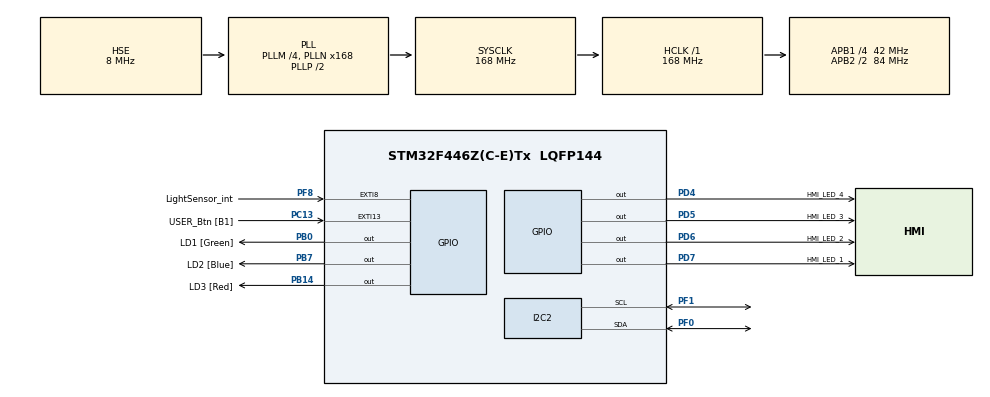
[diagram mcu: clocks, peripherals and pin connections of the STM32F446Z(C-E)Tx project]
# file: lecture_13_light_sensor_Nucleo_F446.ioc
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Mcu.Family=STM32F4
Mcu.Name=STM32F446Z(C-E)Tx
Mcu.Package=LQFP144
NVIC.EXTI15_10_IRQn=true\:0\:0\:false\:false\:true\:true\:true\:true
NVIC.EXTI9_5_IRQn=true\:0\:0\:false\:false\:true\:true\:true\:true
NVIC.PriorityGroup=NVIC_PRIORITYGROUP_4
PA13.Mode=Serial_Wire
PA13.Signal=SYS_JTMS-SWDIO
PA14.Mode=Serial_Wire
PA14.Signal=SYS_JTCK-SWCLK
PB0.GPIO_Label=LD1 [Green]
PB0.Signal=GPIO_Output
PB14.GPIO_Label=LD3 [Red]
PB14.Signal=GPIO_Output
PB7.GPIO_Label=LD2 [Blue]
PB7.Signal=GPIO_Output
PC13.GPIO_Label=USER_Btn [B1]
PC13.Signal=GPXTI13
PC14-OSC32_IN.Mode=LSE-External-Oscillator
PC14-OSC32_IN.Signal=RCC_OSC32_IN
PC15-OSC32_OUT.Mode=LSE-External-Oscillator
PC15-OSC32_OUT.Signal=RCC_OSC32_OUT
PD4.GPIO_Label=HMI_LED_4
PD4.GPIO_ModeDefaultOutputPP=GPIO_MODE_OUTPUT_PP
PD4.GPIO_PuPd=GPIO_NOPULL
PD4.GPIO_Speed=GPIO_SPEED_FREQ_LOW
PD4.PinState=GPIO_PIN_RESET
PD4.Signal=GPIO_Output
PD5.GPIO_Label=HMI_LED_3
PD5.GPIO_ModeDefaultOutputPP=GPIO_MODE_OUTPUT_PP
PD5.GPIO_PuPd=GPIO_NOPULL
PD5.GPIO_Speed=GPIO_SPEED_FREQ_LOW
PD5.PinState=GPIO_PIN_RESET
PD5.Signal=GPIO_Output
PD6.GPIO_Label=HMI_LED_2
PD6.GPIO_ModeDefaultOutputPP=GPIO_MODE_OUTPUT_PP
PD6.GPIO_PuPd=GPIO_NOPULL
PD6.GPIO_Speed=GPIO_SPEED_FREQ_LOW
PD6.PinState=GPIO_PIN_RESET
PD6.Signal=GPIO_Output
PD7.GPIO_Label=HMI_LED_1
PD7.GPIO_ModeDefaultOutputPP=GPIO_MODE_OUTPUT_PP
PD7.GPIO_PuPd=GPIO_NOPULL
PD7.GPIO_Speed=GPIO_SPEED_FREQ_LOW
PD7.PinState=GPIO_PIN_RESET
PD7.Signal=GPIO_Output
PF0.Mode=I2C
PF0.Signal=I2C2_SDA
PF1.Mode=I2C
PF1.Signal=I2C2_SCL
PF8.GPIO_Label=LightSensor_int
PF8.GPIO_ModeDefaultEXTI=GPIO_MODE_IT_RISING_FALLING
PF8.GPIO_PuPd=GPIO_NOPULL
PF8.Signal=GPXTI8
PH0-OSC_IN.Mode=HSE-External-Clock-Source
PH0-OSC_IN.Signal=RCC_OSC_IN
PH1-OSC_OUT.Mode=HSE-External-Clock-Source
PH1-OSC_OUT.Signal=RCC_OSC_OUT
ProjectManager.HeapSize=0x200
ProjectManager.StackSize=0x400
ProjectManager.TargetToolchain=STM32CubeIDE
RCC.48MHZClocksFreq_Value=24000000
RCC.AHBFreq_Value=168000000
RCC.APB1CLKDivider=RCC_HCLK_DIV4
RCC.APB1Freq_Value=42000000
RCC.APB1TimFreq_Value=84000000
RCC.APB2CLKDivider=RCC_HCLK_DIV2
RCC.APB2Freq_Value=84000000
RCC.APB2TimFreq_Value=168000000
RCC.CortexFreq_Value=168000000
RCC.HCLKFreq_Value=168000000
RCC.HSE_VALUE=8000000
RCC.HSI_VALUE=16000000
RCC.PLLM=4
RCC.PLLMUL=RCC_PLL_MUL9
RCC.PLLN=168
RCC.PLLQ=7
RCC.PLLSourceVirtual=RCC_PLLSOURCE_HSE
RCC.PRESCALERUSB=RCC_USBCLKSOURCE_PLL_DIV1_5
RCC.SYSCLKFreq_VALUE=168000000
RCC.SYSCLKSource=RCC_SYSCLKSOURCE_PLLCLK
RCC.SYSCLKSourceVirtual=RCC_SYSCLKSOURCE_PLLCLK
RCC.USBFreq_Value=48000000
RCC.VCOOutputFreq_Value=336000000
board=NUCLEO-F446ZE

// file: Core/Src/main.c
/* USER CODE BEGIN Header */
/**
  ******************************************************************************
  * @file           : main.c
  * @brief          : Main program body
  ******************************************************************************
  * @attention
  *
  * Copyright (c) 2024 STMicroelectronics.
  * All rights reserved.
  *
  * This software is licensed under terms that can be found in the LICENSE file
  * in the root directory of this software component.
  * If no LICENSE file comes with this software, it is provided AS-IS.
  *
  ******************************************************************************
  */
/* USER CODE END Header */
#include "main.h"
#include "i2c.h"
#include "gpio.h"

/* USER CODE BEGIN Includes */

#include "OLED.h"
#include "light_sensor.h"
#include <stdio.h>

/* USER CODE END Includes */

void SystemClock_Config(void);

/* USER CODE BEGIN 0 */
// Variable for counting the interrupts
uint16_t interrupt_counter = 0;

// Külső interrupt lekezelő függvény
void HAL_GPIO_EXTI_Callback(uint16_t GPIO_Pin)
{
	interrupt_counter++;			// Counter incrementation
	LightSensor_ClearInterrupt();	// Clear the new interrupts
}

/* USER CODE END 0 */

int main(void)
{

  /* MCU Configuration--------------------------------------------------------*/

  /* Reset of all peripherals, Initializes the Flash interface and the Systick. */
  HAL_Init();

  /* Configure the system clock */
  SystemClock_Config();

  /* Initialize all configured peripherals */
  MX_GPIO_Init();
  MX_I2C2_Init();
  /* USER CODE BEGIN 2 */

  // Initialize OLED display for showing temperature reading
  OLED_Init();

  // Storing measured light level
  float lightLevel;
  uint16_t channel_0;
  uint16_t channel_1;

  // Character array for displaying the measured light level
  char lightLevel_char[18];
  uint16_t lightlevel_integer;
  uint16_t lightlevel_fractional;
  // Character array for displaying the interrupt counter
  char interrupt_char[18];
  char channels_char[18];
  // Variable for checking the status of the communication
  HAL_StatusTypeDef sensor_i2c = HAL_OK;

  // Set the I2C slave address of the light sensor
  //LightSensor_SetAddress(LightSensor_ADDR_VDD);
  LightSensor_SetAddress(LightSensor_ADDR_FLOAT);
  //LightSensor_SetAddress(LightSensor_ADDR_GND);

  // Initialize the light sensor
  sensor_i2c |= LightSensor_SetPowerState(LightSensor_POWER_ON);
  sensor_i2c |= LightSensor_SetGain(LightSensor_GAIN_16X);
  sensor_i2c |= LightSensor_SetIntegrationTime(LightSensor_INTEG_101m);

  // Enable level interrupt
  sensor_i2c |= LightSensor_SetInterruptState(LightSensor_INT_ON);
  /*
   * Set the interrupt to happen after the light
   * level is outside the threshold window for
   * 3 integration time periods.
   */
  sensor_i2c |= LightSensor_SetInterruptPersist(LightSensor_PERSIST_3CYCLE);
  // Set limits
  uint16_t lower_itr_level = 500;
  uint16_t upper_itr_level = 5000;
  sensor_i2c |= LightSensor_SetThreshold(lower_itr_level, upper_itr_level);

  /* USER CODE END 2 */

  /* Infinite loop */
  /* USER CODE BEGIN WHILE */
  while (1)
  {
	  // Read sensor
	  sensor_i2c |= LightSensor_GetLightLevel(&lightLevel);
	  sensor_i2c |= LightSensor_GetCH0Value(&channel_0);
	  sensor_i2c |= LightSensor_GetCH1Value(&channel_1);

	  // String conversion
	  lightlevel_integer = (uint16_t)lightLevel;
	  lightlevel_fractional = (uint16_t)(lightLevel * 100) - 100 * (uint16_t)lightLevel;
	  sprintf(lightLevel_char, "%d.%d lux", lightlevel_integer, lightlevel_fractional);
	  sprintf(channels_char, "%d, %d", channel_0, channel_1);
	  sprintf(interrupt_char, "%d", interrupt_counter);

	  // Display of measured data
	  OLED_Fill(Black);

	  OLED_SetCursor(2, 0);
	  OLED_WriteString("Illuminance:", Font_7x10, White);
	  OLED_SetCursor(2, 10);
	  OLED_WriteString(lightLevel_char, Font_7x10, White);

	  OLED_SetCursor(2, 10+10);
	  OLED_WriteString("Channel 0, 1:", Font_7x10, White);
	  OLED_SetCursor(2, 10+10+10);
	  OLED_WriteString(channels_char, Font_7x10, White);

	  OLED_SetCursor(2, 10+10+10+10);
	  OLED_WriteString("Interrupts:", Font_7x10, White);
	  OLED_SetCursor(2, 10+10+10+10+10);
	  OLED_WriteString(interrupt_char, Font_7x10, White);

	  OLED_UpdateScreen();

	  sensor_i2c |= LightSensor_ClearInterrupt();

	  // In case of write error turn on all LEDs
	  if (sensor_i2c == HAL_ERROR)
	  {
		  HAL_GPIO_WritePin(HMI_LED_1_GPIO_Port, HMI_LED_1_Pin, GPIO_PIN_SET);
		  HAL_GPIO_WritePin(HMI_LED_2_GPIO_Port, HMI_LED_2_Pin, GPIO_PIN_SET);
		  HAL_GPIO_WritePin(HMI_LED_3_GPIO_Port, HMI_LED_3_Pin, GPIO_PIN_SET);
		  HAL_GPIO_WritePin(HMI_LED_4_GPIO_Port, HMI_LED_4_Pin, GPIO_PIN_SET);
		  // Reset the status variable for the next cycle
		  sensor_i2c = HAL_OK;
		  LightSensor_SetAddress(LightSensor_ADDR_GND);
		  LightSensor_ClearInterrupt();
		  LightSensor_SetAddress(LightSensor_ADDR_FLOAT);
	  }
	  else
	  {
		  HAL_GPIO_WritePin(HMI_LED_1_GPIO_Port, HMI_LED_1_Pin, GPIO_PIN_RESET);
		  HAL_GPIO_WritePin(HMI_LED_2_GPIO_Port, HMI_LED_2_Pin, GPIO_PIN_RESET);
		  HAL_GPIO_WritePin(HMI_LED_3_GPIO_Port, HMI_LED_3_Pin, GPIO_PIN_RESET);
		  HAL_GPIO_WritePin(HMI_LED_4_GPIO_Port, HMI_LED_4_Pin, GPIO_PIN_RESET);
	  }

	  HAL_Delay(200);

    /* USER CODE END WHILE */

  }
}

void SystemClock_Config(void)
{
  RCC_OscInitTypeDef RCC_OscInitStruct = {0};
  RCC_ClkInitTypeDef RCC_ClkInitStruct = {0};

  /** Configure the main internal regulator output voltage
  */
  __HAL_RCC_PWR_CLK_ENABLE();
  __HAL_PWR_VOLTAGESCALING_CONFIG(PWR_REGULATOR_VOLTAGE_SCALE1);

  /** Initializes the RCC Oscillators according to the specified parameters
  * in the RCC_OscInitTypeDef structure.
  */
  RCC_OscInitStruct.OscillatorType = RCC_OSCILLATORTYPE_HSE;
  RCC_OscInitStruct.HSEState = RCC_HSE_BYPASS;
  RCC_OscInitStruct.PLL.PLLState = RCC_PLL_ON;
  RCC_OscInitStruct.PLL.PLLSource = RCC_PLLSOURCE_HSE;
  RCC_OscInitStruct.PLL.PLLM = 4;
  RCC_OscInitStruct.PLL.PLLN = 168;
  RCC_OscInitStruct.PLL.PLLP = RCC_PLLP_DIV2;
  RCC_OscInitStruct.PLL.PLLQ = 7;
  RCC_OscInitStruct.PLL.PLLR = 2;
  if (HAL_RCC_OscConfig(&RCC_OscInitStruct) != HAL_OK)
  {
    Error_Handler();
  }

  /** Initializes the CPU, AHB and APB buses clocks
  */
  RCC_ClkInitStruct.ClockType = RCC_CLOCKTYPE_HCLK|RCC_CLOCKTYPE_SYSCLK
                              |RCC_CLOCKTYPE_PCLK1|RCC_CLOCKTYPE_PCLK2;
  RCC_ClkInitStruct.SYSCLKSource = RCC_SYSCLKSOURCE_PLLCLK;
  RCC_ClkInitStruct.AHBCLKDivider = RCC_SYSCLK_DIV1;
  RCC_ClkInitStruct.APB1CLKDivider = RCC_HCLK_DIV4;
  RCC_ClkInitStruct.APB2CLKDivider = RCC_HCLK_DIV2;

  if (HAL_RCC_ClockConfig(&RCC_ClkInitStruct, FLASH_LATENCY_5) != HAL_OK)
  {
    Error_Handler();
  }
}

void Error_Handler(void)
{
  __disable_irq();
  while (1)
  {
  }
}
